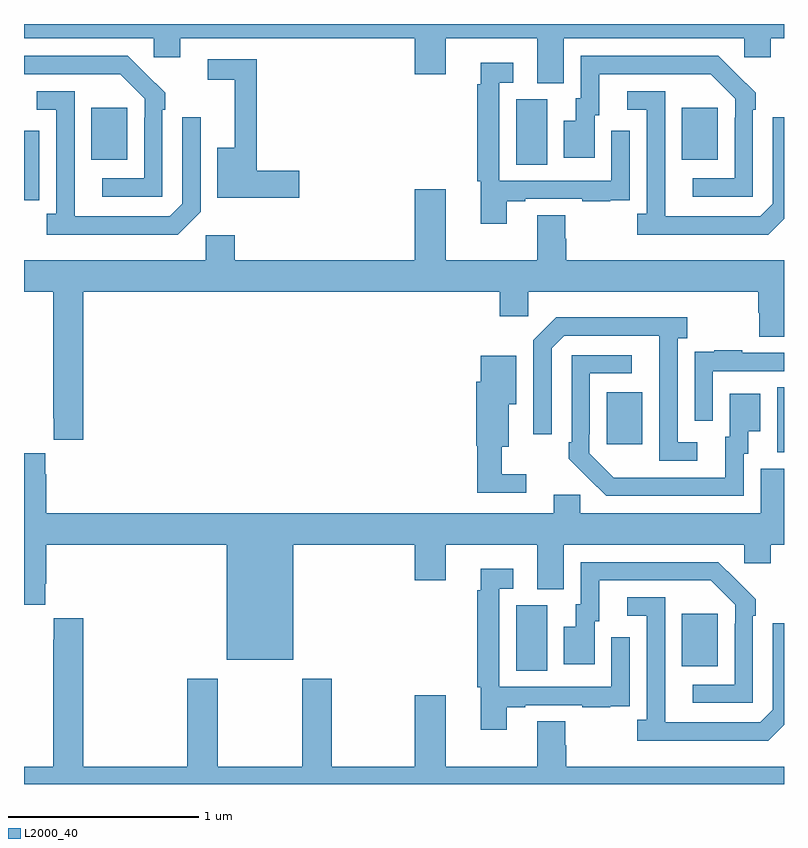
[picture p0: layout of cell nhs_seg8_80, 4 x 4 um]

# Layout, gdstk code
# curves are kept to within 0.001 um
import gdstk
lib = gdstk.Library(unit=1e-6, precision=1e-09)
def R(c, l, rs):  # rectangles x0, y0, x1, y1
    for r in rs: c.add(gdstk.rectangle(r[:2], r[2:], *l))
def P(c, l, *ps):  # polygons
    for p in ps: c.add(gdstk.Polygon(p, *l))
L2000_40 = (2000, 40)

nhs_seg8_80 = lib.new_cell('nhs_seg8_80')
R(nhs_seg8_80, L2000_40, [(117.59,1122.496,117.754,1122.84), (118.463,1122.521,118.651,1122.796), (118.964,1123.645,119,1123.988), (118.067,1123.689,118.255,1123.963), (117.59,1125.16,117.754,1125.504), (115.355,1125.185,115.543,1125.46), (118.463,1125.185,118.651,1125.46)])
P(nhs_seg8_80, L2000_40, [(117.841,1125.824),(118.791,1125.824),(118.791,1125.726),(118.93,1125.726),(118.93,1125.824),(119,1125.824),(119,1125.9),(115,1125.9),(115,1125.824),(115.683,1125.824),(115.683,1125.726),(115.822,1125.726),(115.822,1125.824),(117.056,1125.824),(117.056,1125.636),(117.22,1125.636),(117.22,1125.824),(117.701,1125.824),(117.701,1125.589),(117.841,1125.589)],
  [(115.728,1125.449),(115.743,1125.449),(115.743,1125.537),(115.546,1125.732),(115,1125.732),(115,1125.636),(115.507,1125.636),(115.635,1125.507),(115.635,1125.407),(115.632,1125.407),(115.632,1125.087),(115.413,1125.087),(115.413,1124.991),(115.728,1124.991)],
  [(118.836,1125.449),(118.851,1125.449),(118.851,1125.537),(118.654,1125.732),(117.93,1125.732),(117.93,1125.51),(117.905,1125.51),(117.905,1125.391),(117.842,1125.391),(117.842,1125.195),(118.003,1125.195),(118.003,1125.42),(118.027,1125.42),(118.027,1125.636),(118.615,1125.636),(118.743,1125.507),(118.743,1125.407),(118.74,1125.407),(118.74,1125.087),(118.521,1125.087),(118.521,1124.991),(118.836,1124.991)],
  [(116.449,1125.128),(116.225,1125.128),(116.225,1125.714),(115.968,1125.714),(115.968,1125.606),(116.108,1125.606),(116.108,1125.25),(116.018,1125.25),(116.018,1124.986),(116.449,1124.986)],
  [(117.541,1124.967),(117.637,1124.967),(117.637,1124.979),(117.937,1124.979),(117.937,1124.967),(118.085,1124.967),(118.085,1124.973),(118.187,1124.973),(118.187,1125.082),(118.188,1125.082),(118.188,1125.337),(118.092,1125.337),(118.092,1125.075),(117.501,1125.075),(117.501,1125.591),(117.574,1125.591),(117.574,1125.697),(117.404,1125.697),(117.404,1125.584),(117.385,1125.584),(117.385,1125.072),(117.404,1125.072),(117.404,1124.85),(117.541,1124.85)],
  [(119,1124.876),(119,1125.409),(118.941,1125.409),(118.941,1124.955),(118.875,1124.889),(118.375,1124.889),(118.374,1125.546),(118.176,1125.546),(118.176,1125.45),(118.278,1125.45),(118.278,1124.902),(118.227,1124.902),(118.227,1124.792),(118.916,1124.792)],
  [(115.929,1124.913),(115.929,1125.409),(115.833,1125.409),(115.833,1124.955),(115.767,1124.889),(115.267,1124.889),(115.266,1125.546),(115.068,1125.546),(115.068,1125.45),(115.17,1125.45),(115.17,1124.902),(115.119,1124.902),(115.119,1124.792),(115.808,1124.792)],
  [(115.079,1125.082),(115.08,1125.082),(115.08,1125.337),(115,1125.337),(115,1124.973),(115.079,1124.973)],
  [(115.313,1124.492),(117.503,1124.492),(117.503,1124.361),(117.654,1124.361),(117.654,1124.492),(118.865,1124.492),(118.865,1124.379),(118.87,1124.379),(118.87,1124.254),(119,1124.254),(119,1124.656),(117.854,1124.656),(117.854,1124.769),(117.849,1124.769),(117.849,1124.894),(117.701,1124.894),(117.701,1124.656),(117.22,1124.656),(117.22,1125.031),(117.056,1125.031),(117.056,1124.656),(116.108,1124.656),(116.108,1124.788),(115.956,1124.788),(115.956,1124.656),(115,1124.656),(115,1124.492),(115.153,1124.492),(115.153,1123.825),(115.157,1123.825),(115.157,1123.713),(115.313,1123.713)],
  [(118.543,1123.698),(118.44,1123.698),(118.44,1124.246),(118.492,1124.246),(118.492,1124.356),(117.802,1124.356),(117.681,1124.235),(117.681,1123.74),(117.777,1123.74),(117.777,1124.193),(117.843,1124.259),(118.343,1124.259),(118.344,1123.602),(118.543,1123.602)],
  [(118.626,1124.073),(119,1124.073),(119,1124.169),(118.781,1124.169),(118.781,1124.182),(118.633,1124.182),(118.633,1124.175),(118.531,1124.175),(118.531,1124.066),(118.53,1124.066),(118.53,1123.812),(118.626,1123.812)],
  [(118.788,1123.638),(118.813,1123.638),(118.813,1123.757),(118.876,1123.757),(118.876,1123.954),(118.715,1123.954),(118.715,1123.728),(118.691,1123.728),(118.691,1123.512),(118.104,1123.513),(117.975,1123.641),(117.975,1123.741),(117.978,1123.741),(117.978,1124.061),(118.198,1124.061),(118.198,1124.157),(117.882,1124.157),(117.882,1123.699),(117.867,1123.699),(117.867,1123.611),(118.064,1123.416),(118.788,1123.416)],
  [(117.643,1123.531),(117.514,1123.531),(117.514,1123.676),(117.55,1123.676),(117.55,1123.898),(117.592,1123.898),(117.592,1124.155),(117.404,1124.155),(117.404,1124.016),(117.38,1124.016),(117.38,1123.68),(117.385,1123.68),(117.385,1123.434),(117.643,1123.434)],
  [(116.416,1123.16),(117.056,1123.16),(117.056,1122.972),(117.22,1122.972),(117.22,1123.16),(117.701,1123.16),(117.701,1122.925),(117.841,1122.925),(117.841,1123.16),(118.791,1123.16),(118.791,1123.062),(118.93,1123.062),(118.93,1123.16),(119,1123.16),(119,1123.56),(118.877,1123.56),(118.877,1123.324),(117.927,1123.324),(117.927,1123.422),(117.788,1123.422),(117.788,1123.324),(115.118,1123.324),(115.118,1123.529),(115.111,1123.529),(115.111,1123.642),(115,1123.642),(115,1122.843),(115.111,1122.843),(115.111,1122.955),(115.118,1122.955),(115.118,1123.16),(116.066,1123.16),(116.066,1122.554),(116.416,1122.554)],
  [(118.836,1122.785),(118.851,1122.785),(118.851,1122.873),(118.654,1123.068),(117.93,1123.068),(117.93,1122.846),(117.905,1122.846),(117.905,1122.727),(117.842,1122.727),(117.842,1122.531),(118.003,1122.531),(118.003,1122.756),(118.027,1122.756),(118.027,1122.972),(118.615,1122.972),(118.743,1122.843),(118.743,1122.743),(118.74,1122.743),(118.74,1122.423),(118.521,1122.423),(118.521,1122.327),(118.836,1122.327)],
  [(117.541,1122.303),(117.637,1122.303),(117.637,1122.315),(117.937,1122.315),(117.937,1122.303),(118.085,1122.303),(118.085,1122.309),(118.187,1122.309),(118.187,1122.418),(118.188,1122.418),(118.188,1122.673),(118.092,1122.673),(118.092,1122.411),(117.501,1122.411),(117.501,1122.927),(117.574,1122.927),(117.574,1123.033),(117.404,1123.033),(117.404,1122.92),(117.385,1122.92),(117.385,1122.408),(117.404,1122.408),(117.404,1122.186),(117.541,1122.186)],
  [(119,1122.212),(119,1122.745),(118.941,1122.745),(118.941,1122.291),(118.875,1122.225),(118.375,1122.225),(118.374,1122.882),(118.176,1122.882),(118.176,1122.786),(118.278,1122.786),(118.278,1122.238),(118.227,1122.238),(118.227,1122.128),(118.916,1122.128)],
  [(119,1121.992),(117.854,1121.992),(117.854,1122.105),(117.849,1122.105),(117.849,1122.23),(117.701,1122.23),(117.701,1121.992),(117.22,1121.992),(117.22,1122.367),(117.056,1122.367),(117.056,1121.992),(116.619,1121.992),(116.619,1122.454),(116.464,1122.454),(116.464,1121.992),(116.019,1121.992),(116.019,1122.454),(115.859,1122.454),(115.859,1121.992),(115.313,1121.992),(115.313,1122.772),(115.157,1122.772),(115.157,1122.659),(115.153,1122.659),(115.153,1121.992),(115,1121.992),(115,1121.9),(119,1121.9)])

lib.write_gds('nhs_seg8_80.gds')
